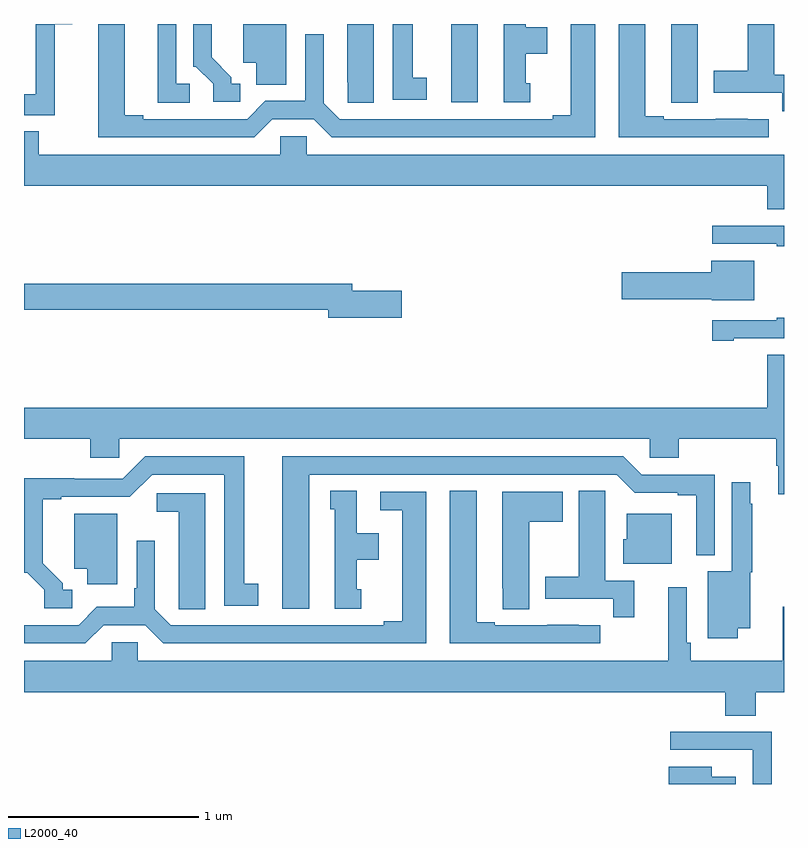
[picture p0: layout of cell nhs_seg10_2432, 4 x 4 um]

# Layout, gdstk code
import gdstk
lib = gdstk.Library(unit=1e-6, precision=1e-09)
def R(c, l, rs):  # rectangles x0, y0, x1, y1
    for r in rs: c.add(gdstk.rectangle(r[:2], r[2:], *l))
def P(c, l, *ps):  # polygons
    for p in ps: c.add(gdstk.Polygon(p, *l))
L2000_40 = (2000, 40)

nhs_seg10_2432 = lib.new_cell('nhs_seg10_2432')
R(nhs_seg10_2432, L2000_40, [(243.248,1302.087,243.388,1302.5)])
P(nhs_seg10_2432, L2000_40, [(245,1302.234),(244.948,1302.234),(244.948,1302.5),(244.808,1302.5),(244.808,1302.255),(244.631,1302.255),(244.631,1302.138),(244.99,1302.138),(244.99,1302.042),(245,1302.042)],
  [(244.546,1302.5),(244.406,1302.5),(244.406,1302.193),(244.407,1302.193),(244.407,1302.085),(244.546,1302.085)],
  [(242.38,1302.5),(242.153,1302.5),(242.153,1302.296),(242.222,1302.296),(242.222,1302.181),(242.38,1302.181)],
  [(242.842,1302.5),(242.702,1302.5),(242.702,1302.193),(242.703,1302.193),(242.703,1302.085),(242.842,1302.085)],
  [(242.307,1302),(242.525,1302),(242.621,1301.904),(244.006,1301.904),(244.006,1302.5),(243.878,1302.5),(243.878,1302.02),(243.782,1302.02),(243.782,1302),(242.661,1302),(242.577,1302.084),(242.577,1302.445),(242.481,1302.445),(242.481,1302.096),(242.271,1302.096),(242.175,1302),(241.627,1302),(241.627,1302.02),(241.531,1302.02),(241.531,1302.5),(241.391,1302.5),(241.391,1301.904),(242.211,1301.904)],
  [(242.137,1302.186),(242.092,1302.186),(242.092,1302.221),(241.987,1302.326),(241.987,1302.5),(241.89,1302.5),(241.89,1302.276),(241.905,1302.276),(241.995,1302.186),(241.995,1302.09),(242.137,1302.09)],
  [(241.873,1302.186),(241.8,1302.186),(241.8,1302.5),(241.703,1302.5),(241.703,1302.085),(241.873,1302.085)],
  [(241.161,1302.499),(241.255,1302.499),(241.255,1302.5),(241.061,1302.5),(241.061,1302.13),(241,1302.13),(241,1302.021),(241.161,1302.021)],
  [(243.121,1302.218),(243.046,1302.218),(243.046,1302.5),(242.942,1302.5),(242.942,1302.102),(243.121,1302.102)],
  [(243.664,1302.189),(243.64,1302.189),(243.64,1302.344),(243.754,1302.344),(243.754,1302.484),(243.64,1302.484),(243.64,1302.5),(243.524,1302.5),(243.524,1302.087),(243.664,1302.087)],
  [(244.921,1302),(244.808,1302),(244.808,1302.001),(244.642,1302.001),(244.642,1302),(244.366,1302),(244.366,1302.015),(244.27,1302.015),(244.27,1302.5),(244.13,1302.5),(244.13,1301.904),(244.921,1301.904)],
  [(245,1301.812),(242.487,1301.812),(242.487,1301.91),(242.349,1301.91),(242.349,1301.812),(241.077,1301.812),(241.077,1301.936),(241,1301.936),(241,1301.648),(244.913,1301.648),(244.913,1301.524),(245,1301.524)],
  [(245,1301.439),(244.623,1301.439),(244.623,1301.343),(244.961,1301.343),(244.961,1301.331),(245,1301.331)],
  [(244.843,1301.254),(244.616,1301.254),(244.616,1301.193),(244.146,1301.193),(244.146,1301.051),(244.62,1301.051),(244.62,1301.045),(244.843,1301.045)],
  [(242.989,1301.096),(242.728,1301.096),(242.728,1301.132),(241,1301.132),(241,1300.996),(242.6,1300.996),(242.6,1300.954),(242.989,1300.954)],
  [(244.735,1300.845),(245,1300.845),(245,1300.954),(244.961,1300.954),(244.961,1300.941),(244.623,1300.941),(244.623,1300.833),(244.735,1300.833)],
  [(245,1300.76),(244.913,1300.76),(244.913,1300.48),(241,1300.48),(241,1300.316),(241.349,1300.316),(241.349,1300.218),(241.5,1300.218),(241.5,1300.316),(244.293,1300.316),(244.293,1300.218),(244.445,1300.218),(244.445,1300.316),(244.958,1300.316),(244.958,1300.174),(244.97,1300.174),(244.97,1300.026),(245,1300.026)],
  [(242.5,1300.128),(244.119,1300.128),(244.215,1300.032),(244.442,1300.032),(244.442,1300.02),(244.538,1300.02),(244.538,1299.704),(244.635,1299.704),(244.635,1300.128),(244.251,1300.128),(244.155,1300.224),(242.36,1300.224),(242.36,1299.423),(242.5,1299.423)],
  [(241.255,1299.522),(241.204,1299.522),(241.204,1299.557),(241.099,1299.662),(241.099,1299.999),(241.195,1299.999),(241.195,1300.011),(241.557,1300.011),(241.674,1300.128),(242.054,1300.128),(242.054,1299.438),(242.233,1299.438),(242.233,1299.554),(242.158,1299.554),(242.158,1300.224),(241.638,1300.224),(241.521,1300.107),(241.265,1300.107),(241.265,1300.109),(241.002,1300.109),(241.002,1299.612),(241.017,1299.612),(241.107,1299.522),(241.107,1299.426),(241.255,1299.426)],
  [(244.756,1299.32),(244.822,1299.32),(244.822,1299.615),(244.834,1299.615),(244.834,1299.974),(244.822,1299.974),(244.822,1300.087),(244.725,1300.087),(244.725,1299.619),(244.598,1299.619),(244.598,1299.267),(244.756,1299.267)],
  [(244.211,1299.57),(244.06,1299.57),(244.06,1299.932),(244.059,1299.932),(244.059,1300.043),(243.92,1300.043),(243.92,1299.591),(243.743,1299.591),(243.743,1299.474),(244.102,1299.474),(244.102,1299.378),(244.211,1299.378)],
  [(242.776,1299.525),(242.752,1299.525),(242.752,1299.68),(242.866,1299.68),(242.866,1299.82),(242.752,1299.82),(242.752,1300.043),(242.612,1300.043),(242.612,1299.945),(242.636,1299.945),(242.636,1299.423),(242.776,1299.423)],
  [(244.033,1299.336),(243.92,1299.336),(243.92,1299.337),(243.754,1299.337),(243.754,1299.336),(243.478,1299.336),(243.478,1299.351),(243.382,1299.351),(243.382,1300.043),(243.242,1300.043),(243.242,1299.24),(244.033,1299.24)],
  [(243.658,1299.88),(243.835,1299.88),(243.835,1300.039),(243.518,1300.039),(243.518,1299.529),(243.519,1299.529),(243.519,1299.421),(243.658,1299.421)],
  [(241.419,1299.336),(241.637,1299.336),(241.733,1299.24),(243.118,1299.24),(243.118,1300.038),(242.874,1300.038),(242.874,1299.942),(242.99,1299.942),(242.99,1299.356),(242.894,1299.356),(242.894,1299.336),(241.773,1299.336),(241.689,1299.42),(241.689,1299.781),(241.593,1299.781),(241.593,1299.529),(241.581,1299.529),(241.581,1299.432),(241.383,1299.432),(241.287,1299.336),(241,1299.336),(241,1299.24),(241.323,1299.24)],
  [(241.954,1300.029),(241.698,1300.029),(241.698,1299.932),(241.814,1299.932),(241.814,1299.529),(241.815,1299.529),(241.815,1299.421),(241.954,1299.421)],
  [(244.408,1299.922),(244.172,1299.922),(244.172,1299.789),(244.154,1299.789),(244.154,1299.659),(244.408,1299.659)],
  [(241.492,1299.922),(241.265,1299.922),(241.265,1299.632),(241.334,1299.632),(241.334,1299.552),(241.492,1299.552)],
  [(244.851,1298.984),(245,1298.984),(245,1299.433),(244.993,1299.433),(244.993,1299.148),(244.508,1299.148),(244.508,1299.244),(244.488,1299.244),(244.488,1299.535),(244.391,1299.535),(244.391,1299.148),(241.599,1299.148),(241.599,1299.246),(241.461,1299.246),(241.461,1299.148),(241,1299.148),(241,1298.984),(244.691,1298.984),(244.691,1298.86),(244.851,1298.86)],
  [(244.935,1298.775),(244.401,1298.775),(244.401,1298.679),(244.835,1298.679),(244.835,1298.678),(244.836,1298.678),(244.836,1298.5),(244.935,1298.5)],
  [(244.747,1298.539),(244.621,1298.539),(244.621,1298.59),(244.394,1298.59),(244.394,1298.5),(244.747,1298.5)])

lib.write_gds('nhs_seg10_2432.gds')
